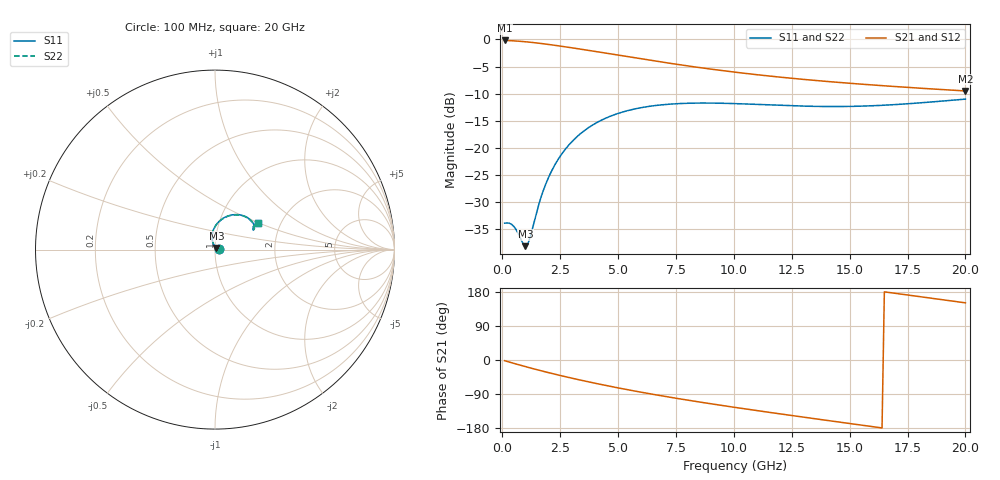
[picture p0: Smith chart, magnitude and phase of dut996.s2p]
! Touchstone file exported from HFSS 2024.1.0
!  File:  C:/UserFiles/LocalFiles/RDL_TSV_Batchsim/temp_RDL_TSV_996_1779976699.aedt
!  Generated:  10:13:20 PM May 28, 2026
!  Design:  RDL_TSV
!  Project:  temp_RDL_TSV_996_1779976699
!  Setup:  Setup1
!  Solution:  Sweep
! Variables:
!  dtsv = 8.12um
!  hbump = 3um
!  htsv = 88.23um
!  ldown = 432.62um
!  lrdl = 391.94um
!  p = 40
!  p1 = 49.39um
!  rhole = 10um
!  subl = 2865.62um
!  t = 450um
!  tdown = 2um
!  trdl = 2.52um
!  viad = 10um
!  wdown = 20.43um
!  wrdl = 27.84um
!  xbump = 18um
# GHz S MA R 50.000000
! Terminal data exported
! Port[1] = TM1_1_T1
! Port[2] = TM1_4_T1
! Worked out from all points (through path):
!   200 points, 100 MHz to 20 GHz, reference 50 ohm
!   highest |S21| = -0.18 dB at 100 MHz (marker M1); lowest = -9.5 dB at 20 GHz (marker M2)
!   group delay of S21, straight-line fit = 27.4 ps
!   lowest |S11| = -38.2 dB at 1 GHz (marker M3), VSWR 1.02, Z = 50.8 + j0.961 ohm
!   |S11| at or under -10 dB: start of sweep to end of sweep
!   |S22| runs from -38.2 to -11.0 dB; largest |S21 - S12| = 8.6e-15
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0.1  0.02012 3.0  0.9795 -1.8  0.9795 -1.8  0.02012 3.0
! Gamma 0 0 0 0
! Port Impedance 50 0 50 0
0.3  0.0201 7.3  0.9762 -5.4  0.9762 -5.4  0.02011 7.3
0.5  0.01876 10.8  0.971 -9.0  0.971 -9.0  0.01877 10.7
0.9  0.01296 35.5  0.957 -15.8  0.957 -15.8  0.01299 35.3
1  0.01233 50.1  0.9528 -17.5  0.9528 -17.5  0.01235 49.8
1.1  0.01291 66.4  0.9483 -19.2  0.9483 -19.2  0.0129 66.0
1.2  0.01483 80.8  0.9436 -20.8  0.9436 -20.8  0.0148 80.5
1.5  0.02628 102.5  0.9282 -25.7  0.9282 -25.7  0.02617 102.2
1.7  0.03642 106.2  0.9172 -28.8  0.9172 -28.8  0.03625 106.1
2.1  0.05926 105.5  0.8937 -34.9  0.8937 -34.9  0.05899 105.3
2.7  0.09559 98.1  0.8569 -43.7  0.8569 -43.7  0.09516 98.0
3.5  0.1416 86.4  0.8071 -54.7  0.8071 -54.7  0.141 86.3
4.2  0.1762 76.6  0.7644 -63.8  0.7644 -63.8  0.1754 76.5
4.9  0.2041 67.8  0.7231 -72.4  0.7231 -72.4  0.2032 67.7
5.8  0.2302 57.9  0.6733 -82.8  0.6733 -82.8  0.2291 57.8
6.8  0.2481 48.9  0.623 -93.7  0.623 -93.7  0.2468 48.8
8.4  0.2586 38.1  0.5547 -109.8  0.5547 -109.8  0.2572 38.0
10.1  0.2556 31.0  0.4975 -125.5  0.4975 -125.5  0.254 31.0
11.7  0.2479 27.8  0.4556 -139.6  0.4556 -139.6  0.2463 27.8
13.4  0.2413 27.3  0.4206 -154.1  0.4206 -154.1  0.2398 27.4
16.7  0.2485 30.7  0.3708 178.2  0.3708 178.2  0.2472 30.8
20  0.2813 31.9  0.3346 150.8  0.3346 150.8  0.2803 32.0
